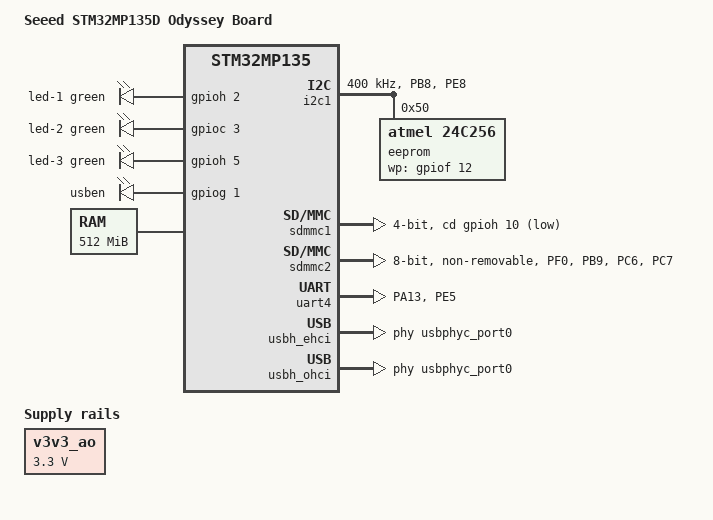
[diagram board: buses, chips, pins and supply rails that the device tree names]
// SPDX-License-Identifier: (GPL-2.0+ OR BSD-3-Clause)
/*
 * Copyright (C) STMicroelectronics 2021 - All Rights Reserved
 * Author: Alexandre Torgue <alexandre.torgue@foss.st.com> for STMicroelectronics.
 * Copyright (C) 2023 Casey Reeves <casey@xogium.me>
 */

/dts-v1/;

#include <dt-bindings/gpio/gpio.h>
#include <dt-bindings/input/input.h>
#include <dt-bindings/leds/common.h>
#include <dt-bindings/regulator/st,stm32mp13-regulator.h>
#include <arm/st/stm32mp135.dtsi>
#include <arm/st/stm32mp13-pinctrl.dtsi>
#include "stm32mp131.dtsi"

/ {
	model = "Seeed STM32MP135D Odyssey Board";
	compatible = "st,stm32mp135d-odyssey", "st,stm32mp135";

	aliases {
		mmc0 = &sdmmc1;
		mmc1 = &sdmmc2;
		serial0 = &uart4;
		serial1 = &usart2;
	};

	chosen {
		stdout-path = "serial0:115200n8";

		environment-sd {
			compatible = "barebox,environment";
			device-path = &sdmmc1, "partname:barebox-environment";
			status = "disabled";
		};

		environment-emmc {
			compatible = "barebox,environment";
			device-path = &sdmmc2, "partname:barebox-environment";
			status = "disabled";
		};
	};

	leds {
		compatible = "gpio-leds";

		led-1 {
			function = LED_FUNCTION_HEARTBEAT;
			color = <LED_COLOR_ID_GREEN>;
			gpios = <&gpioh 2 GPIO_ACTIVE_HIGH>;
			linux,default-trigger = "heartbeat";
			default-state = "off";
		};

		led-2 {
			function = LED_FUNCTION_DISK_READ;
			color = <LED_COLOR_ID_GREEN>;
			gpios = <&gpioc 3 GPIO_ACTIVE_HIGH>;
			linux,default-trigger = "mmc0";
			default-state = "off";
		};

		led-3 {
			function = LED_FUNCTION_DISK_WRITE;
			color = <LED_COLOR_ID_GREEN>;
			gpios = <&gpioh 5 GPIO_ACTIVE_HIGH>;
			linux,default-trigger = "mmc0";
			default-state = "off";
		};

		usben {
			label = "usben";
			gpios = <&gpiog  1  GPIO_ACTIVE_HIGH>;
			linux,default-trigger = "usben";
			default-state = "on";
		};
	};

	memory@c0000000 {
		device_type = "memory";
		reg = <0xc0000000 0x20000000>;
	};

	reserved-memory {
		#address-cells = <1>;
		#size-cells = <1>;
		ranges;

		optee@dd000000 {
			reg = <0xdd000000 0x3000000>;
			no-map;
		};
	};

	v3v3_ao: v3v3_ao {
		compatible = "regulator-fixed";
		regulator-name = "v3v3_ao";
		regulator-min-microvolt = <3300000>;
		regulator-max-microvolt = <3300000>;
		regulator-always-on;
	};
};

&i2c1 {
	pinctrl-names = "default", "sleep";
	pinctrl-0 = <&i2c1_pins_b>;
	pinctrl-1 = <&i2c1_sleep_pins_b>;
	i2c-scl-rising-time-ns = <300>;
	i2c-scl-falling-time-ns = <300>;
	clock-frequency = <400000>;
	status = "okay";
	/* spare dmas for other usage */
	/delete-property/dmas;
	/delete-property/dma-names;

	eeprom@50 {
		compatible = "atmel,24c256";
		reg = <0x50>;
		pagesize = <64>;
		wp-gpios = <&gpiof 12 GPIO_ACTIVE_HIGH>;
		#address-cells = <1>;
		#size-cells = <1>;

		eth1_mac_addr: mac1@0 {
			reg = <0x0 0x6>;
		};

		eth2_mac_addr: mac2@0x10 {
			reg = <0x10 0x6>;
		};
	};
};

&qspi {
	status = "disabled";
};

&sdmmc1 {
	pinctrl-names = "default", "opendrain", "sleep";
	pinctrl-0 = <&sdmmc1_b4_pins_a &sdmmc1_clk_pins_a>;
	pinctrl-1 = <&sdmmc1_b4_od_pins_a &sdmmc1_clk_pins_a>;
	pinctrl-2 = <&sdmmc1_b4_sleep_pins_a>;
	cd-gpios = <&gpioh 10 (GPIO_ACTIVE_LOW | GPIO_PULL_UP)>;
	disable-wp;
	st,neg-edge;
	bus-width = <4>;
	status = "okay";
};

&sdmmc2 {
	pinctrl-names = "default", "opendrain", "sleep";
	pinctrl-0 = <&sdmmc2_b4_pins_a &sdmmc2_clk_pins_a &sdmmc2_d47_pins_a>;
	pinctrl-1 = <&sdmmc2_b4_od_pins_a &sdmmc2_clk_pins_a &sdmmc2_d47_pins_a>;
	pinctrl-2 = <&sdmmc2_b4_sleep_pins_a &sdmmc2_d47_sleep_pins_a>;

	non-removable;
	st,neg-edge;
	bus-width = <8>;

	no-sd;
	no-sdio;
	mmc-ddr-3_3v;
	no-1-8-v;
	status = "okay";
};

&spi5 {
	status = "disabled";
};

&timers2 {
	status = "disabled";
};

&timers3 {
	status = "disabled";
};

&timers5 {
	status = "disabled";
};

&uart4 {
	pinctrl-names = "default", "sleep", "idle";
	pinctrl-0 = <&uart4_pins_b>;
	pinctrl-1 = <&uart4_sleep_pins_b>;
	pinctrl-2 = <&uart4_idle_pins_b>;
	/delete-property/dmas;
	/delete-property/dma-names;
	status = "okay";
};

&usart2 {
	status = "disabled";
};

&usbh_ehci {
	phys = <&usbphyc_port0>;
	status = "okay";
};

&usbh_ohci{
	status = "okay";
	phys = <&usbphyc_port0>;
};

&pinctrl {
	/* i2c1 */
	i2c1_pins_b: i2c1-0 {
		pins {
			pinmux = <STM32_PINMUX('B', 8, AF4)>, /* I2C1_SCL */
				 <STM32_PINMUX('E', 8, AF5)>; /* I2C1_SDA */
			bias-disable;
			drive-open-drain;
			slew-rate = <0>;
		};
	};

	i2c1_sleep_pins_b: i2c1-sleep-0 {
		pins {
			pinmux = <STM32_PINMUX('B', 8, ANALOG)>, /* I2C1_SCL */
				 <STM32_PINMUX('E', 8, ANALOG)>; /* I2C1_SDA */
		};
	};

	/* sdmmc2_d47 */
	sdmmc2_d47_pins_a: sdmmc2-d47-0 {
		pins {
			pinmux = <STM32_PINMUX('F', 0, AF10)>, /* SDMMC2_D4 */
				 <STM32_PINMUX('B', 9, AF10)>, /* SDMMC2_D5 */
				 <STM32_PINMUX('C', 6, AF10)>, /* SDMMC2_D6 */
				 <STM32_PINMUX('C', 7, AF10)>; /* SDMMC2_D7 */
			slew-rate = <1>;
			drive-push-pull;
			bias-pull-up;
		};
	};

	sdmmc2_d47_sleep_pins_a: sdmmc2-d47-sleep-0 {
		pins {
			pinmux = <STM32_PINMUX('F', 0, ANALOG)>, /* SDMMC2_D4 */
				 <STM32_PINMUX('B', 9, ANALOG)>, /* SDMMC2_D5 */
				 <STM32_PINMUX('C', 6, ANALOG)>, /* SDMMC2_D6 */
				 <STM32_PINMUX('C', 7, ANALOG)>; /* SDMMC2_D7 */
		};
	};

	/* uart4 */
	uart4_pins_b: uart4-0 {
		pins1 {
			pinmux = <STM32_PINMUX('A', 13, AF8)>; /* UART4_TX */
			bias-disable;
			drive-push-pull;
			slew-rate = <0>;
		};
		pins2 {
			pinmux = <STM32_PINMUX('E', 5, AF8)>; /* UART4_RX */
			bias-disable;
		};
	};

	uart4_idle_pins_b: uart4-idle-0 {
		pins1 {
			pinmux = <STM32_PINMUX('A', 13, ANALOG)>; /* UART4_TX */
		};
		pins2 {
			pinmux = <STM32_PINMUX('E', 5, AF8)>; /* UART4_RX */
			bias-disable;
		};
	};

	uart4_sleep_pins_b: uart4-sleep-0 {
		pins {
			pinmux = <STM32_PINMUX('A', 13, ANALOG)>, /* UART4_TX */
				 <STM32_PINMUX('E', 5, ANALOG)>; /* UART4_RX */
		};
	};

	usbotg_hs_pins_a: usbotg-hs-0 {
		pins {
			pinmux = <STM32_PINMUX('A', 10, ANALOG)>; /* OTG_ID */
			bias-pull-down;
		};
	};
};
